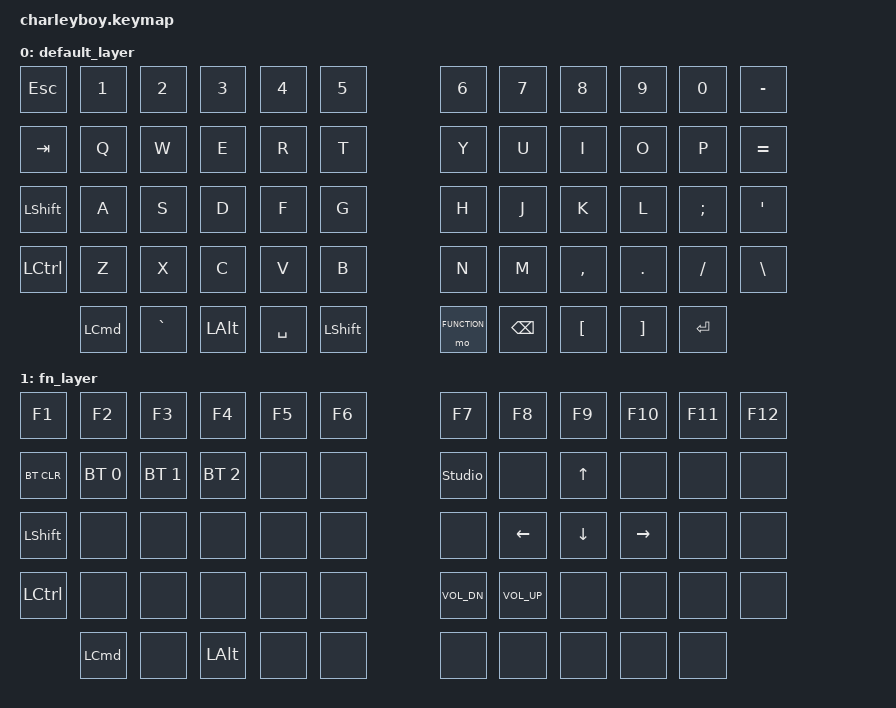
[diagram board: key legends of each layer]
#include <behaviors.dtsi>
#include <dt-bindings/zmk/keys.h>
#include <dt-bindings/zmk/bt.h>

#define DEFAULT  0
#define FUNCTION 1

/ {
    keymap {
        compatible = "zmk,keymap";

        default_layer {
            display-name = "default_layer";

            bindings = <
                &kp ESC   &kp N1  &kp N2 &kp N3   &kp N4 &kp N5           &kp N6  &kp N7  &kp N8      &kp N9   &kp N0     &kp MINUS
                &kp TAB   &kp Q   &kp W  &kp E    &kp R  &kp T            &kp Y   &kp U   &kp I       &kp O    &kp P      &kp EQUAL
                &kp LSHFT &kp A   &kp S  &kp D    &kp F  &kp G            &kp H   &kp J   &kp K       &kp L    &kp SEMI   &kp SQT
                &kp LCTRL &kp Z   &kp X  &kp C    &kp V  &kp B            &kp N   &kp M   &kp COMMA   &kp DOT  &kp FSLH   &kp BSLH
                          &kp LCMD  &kp GRAVE &kp LALT &kp SPACE &kp LSHFT            &mo FUNCTION  &kp BSPC  &kp LBKT    &kp RBKT   &kp RETURN
            >;
        };

        fn_layer {
            display-name = "fn_layer";

            bindings = <
                &kp F1 &kp F2 &kp F3 &kp F4 &kp F5 &kp F6                                 &kp F7   &kp F8   &kp F9   &kp F10   &kp F11 &kp F12
                &bt BT_CLR  &bt BT_SEL 0  &bt BT_SEL 1  &bt BT_SEL 2  &none  &none        &studio_unlock    &none    &kp UP   &none     &none   &none
                &kp LSHFT  &none  &none  &none  &none  &none                                  &none    &kp LEFT &kp DOWN &kp RIGHT &none   &none
                &kp LCTRL  &none  &none  &none  &none  &none                                  &kp C_VOL_DN   &kp C_VOL_UP    &none    &none     &none   &none
                       &kp LCMD  &none  &kp LALT  &none  &none                                  &none    &none    &none    &none     &none
            >;
        };

        extra1 {
            status = "reserved";
        };

        extra2 {
            status = "reserved";
        };
    };
};
